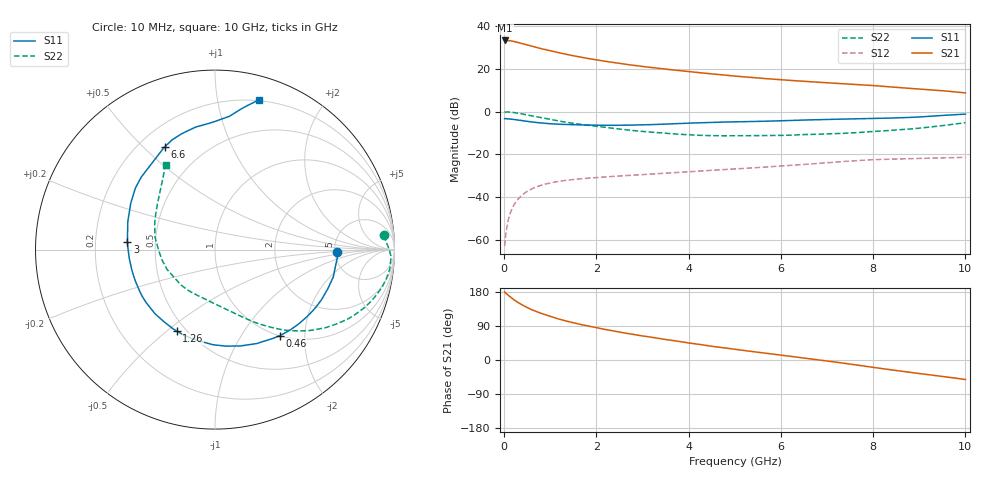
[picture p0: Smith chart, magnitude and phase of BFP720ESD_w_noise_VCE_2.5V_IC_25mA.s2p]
! Infineon Technologies  Discrete & RF Semiconductors
! BFP720ESD
! VCE =  2.5 V,  IC =  25 mA
! Common Emitter S-Parameters:  Jan 2016
# GHz  S  MA  R  50
!  f  S11  S21  S12  S22
! GHz  MAG  ANG  MAG  ANG  MAG  ANG  MAG  ANG
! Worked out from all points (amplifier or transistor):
!   233 points, 10 MHz to 10 GHz, reference 50 ohm
!   highest |S21| = 33.3 dB at 20 MHz (marker M1)
!   |S21| within 3 dB of that: start of sweep to 653 MHz
!   unconditionally stable (mu >= 1): 3.908 GHz to 6.774 GHz
!   at 200 MHz: K = 0.17, MSG = 38.6 dB, |S12| = -44.3 dB
!   at 1.74 GHz: K = 0.63, MSG = 28.3 dB, |S12| = -31.4 dB
!   at 10 GHz: K = 0.66, MSG = 15.1 dB, |S12| = -21.5 dB
!   lowest NFmin = 1.07 dB at 450 MHz
!   S11 on the Smith chart (normalised r, x): 10 MHz: 5.28, -0.21; 460 MHz: 1.00, -1.50; 1.26 GHz: 0.45, -0.54; 3 GHz: 0.34, +0.04; 6.6 GHz: 0.30, +0.59; 10 GHz: 0.19, +1.32
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0.01  0.6819 -0.9  46.1 180.0  0.0007 125.2  0.9433 4.8
0.02  0.6854 -2.5  46.45 177.7  0.0009 91.9  0.9695 0.3
0.1  0.6764 -13.0  46.28 170.0  0.0032 84.7  0.9801 -6.2
0.155  0.6641 -19.7  45.22 164.4  0.0048 79.9  0.9671 -9.9
0.24  0.6471 -29.7  43.13 156.7  0.0072 75.7  0.9385 -15.1
0.34  0.6247 -40.9  40.52 148.9  0.0098 70.8  0.899 -20.5
0.46  0.5992 -53.1  37.35 140.9  0.0126 65.8  0.8495 -26.0
0.6  0.5724 -66.2  34.03 132.7  0.0154 60.6  0.7923 -31.6
0.8  0.5417 -83.3  29.93 123.1  0.0187 54.5  0.7185 -38.3
1  0.5188 -98.4  26.58 114.8  0.0212 49.9  0.6529 -44.0
1.26  0.5013 -115.2  23.02 105.6  0.0238 45.3  0.5824 -50.0
1.4  0.4941 -123.2  21.35 101.1  0.0248 43.3  0.5495 -52.8
1.68  0.486 -137.0  18.71 93.2  0.0267 40.4  0.4979 -57.6
2.2  0.4774 -158.4  15.04 80.3  0.0295 37.1  0.4249 -65.5
3  0.4899 175.1  11.41 63.5  0.0333 34.8  0.3426 -78.4
3.4  0.5044 164.6  10.15 56.1  0.0353 34.3  0.3161 -85.4
4.4  0.5547 144.0  7.837 38.1  0.0414 32.6  0.2741 -108.7
5.1  0.578 134.2  6.652 26.7  0.046 31.0  0.2717 -125.4
6.6  0.6378 115.8  5.038 3.6  0.0587 26.0  0.2906 -159.9
6.8  0.6463 113.7  4.88 0.5  0.0608 24.9  0.2944 -164.1
8.4  0.7049 92.5  3.764 -26.2  0.0769 10.5  0.3636 157.6
10  0.8713 73.5  2.742 -51.6  0.0846 -2.8  0.548 120.1
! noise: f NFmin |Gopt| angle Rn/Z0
0.45  1.07  0.02  -141  0.18
0.9  1.1  0.05  -148  0.12
1.9  1.13  0.08  -133  0.15
2.4  1.13  0.1  -124  0.13
5.5  1.29  0.28  -102  0.15
10  1.68  0.53  -84  0.53
